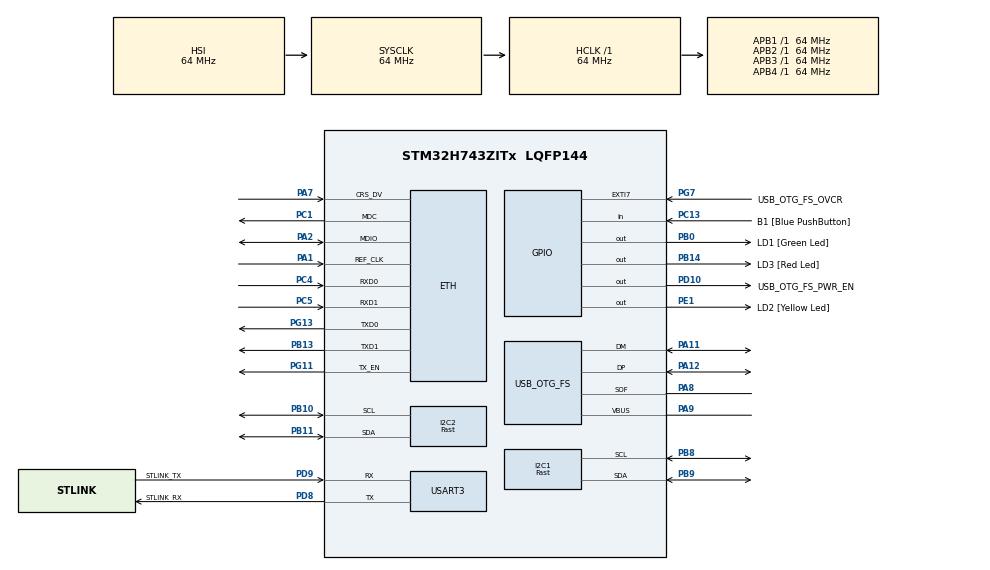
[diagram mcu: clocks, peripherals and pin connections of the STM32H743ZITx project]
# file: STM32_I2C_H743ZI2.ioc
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CORTEX_M7.AccessPermission-Cortex_Memory_Protection_Unit_Region0_Settings=MPU_REGION_FULL_ACCESS
CORTEX_M7.BaseAddress-Cortex_Memory_Protection_Unit_Region0_Settings=0x30000000
CORTEX_M7.CPU_DCache=Enabled
CORTEX_M7.CPU_ICache=Enabled
CORTEX_M7.DisableExec-Cortex_Memory_Protection_Unit_Region0_Settings=MPU_INSTRUCTION_ACCESS_DISABLE
CORTEX_M7.Enable-Cortex_Memory_Protection_Unit_Region0_Settings=MPU_REGION_ENABLE
CORTEX_M7.IsShareable-Cortex_Memory_Protection_Unit_Region0_Settings=MPU_ACCESS_NOT_SHAREABLE
CORTEX_M7.MPU_Control=MPU_PRIVILEGED_DEFAULT
CORTEX_M7.Size-Cortex_Memory_Protection_Unit_Region0_Settings=MPU_REGION_SIZE_32KB
CORTEX_M7.TypeExtField-Cortex_Memory_Protection_Unit_Region0_Settings=MPU_TEX_LEVEL1
Dma.I2C1_TX.1.Direction=DMA_MEMORY_TO_PERIPH
Dma.I2C1_TX.1.EventEnable=DISABLE
Dma.I2C1_TX.1.FIFOMode=DMA_FIFOMODE_DISABLE
Dma.I2C1_TX.1.Instance=DMA1_Stream1
Dma.I2C1_TX.1.MemDataAlignment=DMA_MDATAALIGN_BYTE
Dma.I2C1_TX.1.MemInc=DMA_MINC_ENABLE
Dma.I2C1_TX.1.Mode=DMA_NORMAL
Dma.I2C1_TX.1.PeriphDataAlignment=DMA_PDATAALIGN_BYTE
Dma.I2C1_TX.1.PeriphInc=DMA_PINC_DISABLE
Dma.I2C1_TX.1.Polarity=HAL_DMAMUX_REQ_GEN_RISING
Dma.I2C1_TX.1.Priority=DMA_PRIORITY_LOW
Dma.I2C1_TX.1.RequestNumber=1
Dma.I2C1_TX.1.SignalID=NONE
Dma.I2C1_TX.1.SyncEnable=DISABLE
Dma.I2C1_TX.1.SyncPolarity=HAL_DMAMUX_SYNC_NO_EVENT
Dma.I2C1_TX.1.SyncRequestNumber=1
Dma.I2C1_TX.1.SyncSignalID=NONE
Dma.I2C2_RX.0.Direction=DMA_PERIPH_TO_MEMORY
Dma.I2C2_RX.0.EventEnable=DISABLE
Dma.I2C2_RX.0.FIFOMode=DMA_FIFOMODE_DISABLE
Dma.I2C2_RX.0.Instance=DMA1_Stream2
Dma.I2C2_RX.0.MemDataAlignment=DMA_MDATAALIGN_BYTE
Dma.I2C2_RX.0.MemInc=DMA_MINC_ENABLE
Dma.I2C2_RX.0.Mode=DMA_NORMAL
Dma.I2C2_RX.0.PeriphDataAlignment=DMA_PDATAALIGN_BYTE
Dma.I2C2_RX.0.PeriphInc=DMA_PINC_DISABLE
Dma.I2C2_RX.0.Polarity=HAL_DMAMUX_REQ_GEN_RISING
Dma.I2C2_RX.0.Priority=DMA_PRIORITY_LOW
Dma.I2C2_RX.0.RequestNumber=1
Dma.I2C2_RX.0.SignalID=NONE
Dma.I2C2_RX.0.SyncEnable=DISABLE
Dma.I2C2_RX.0.SyncPolarity=HAL_DMAMUX_SYNC_NO_EVENT
Dma.I2C2_RX.0.SyncRequestNumber=1
Dma.I2C2_RX.0.SyncSignalID=NONE
Dma.Request0=I2C2_RX
Dma.Request1=I2C1_TX
ETH.MediaInterface=HAL_ETH_RMII_MODE
I2C1.I2C_Speed_Mode=I2C_Fast
I2C1.Timing=0x00602173
I2C2.I2C_Speed_Mode=I2C_Fast
I2C2.OwnAddress=0x7f
I2C2.Timing=0x00602173
Mcu.Family=STM32H7
Mcu.Name=STM32H743ZITx
Mcu.Package=LQFP144
NVIC.DMA1_Stream1_IRQn=true\:0\:0\:false\:false\:true\:false\:true\:true
NVIC.DMA1_Stream2_IRQn=true\:0\:0\:false\:false\:true\:false\:true\:true
NVIC.I2C1_EV_IRQn=true\:0\:0\:false\:false\:true\:true\:true\:true
NVIC.I2C2_EV_IRQn=true\:0\:0\:false\:false\:true\:true\:true\:true
NVIC.PriorityGroup=NVIC_PRIORITYGROUP_4
NVIC.TIM1_UP_IRQn=true\:0\:0\:false\:false\:true\:true\:true\:true
NVIC.TIM2_IRQn=true\:0\:0\:false\:false\:true\:true\:true\:true
PA1.Mode=RMII
PA1.Signal=ETH_REF_CLK
PA11.Mode=Device_Only
PA11.Signal=USB_OTG_FS_DM
PA12.Mode=Device_Only
PA12.Signal=USB_OTG_FS_DP
PA2.Mode=RMII
PA2.Signal=ETH_MDIO
PA7.Mode=RMII
PA7.Signal=ETH_CRS_DV
PA8.Mode=Activate_SOF_FS
PA8.Signal=USB_OTG_FS_SOF
PA9.Mode=Activate_VBUS
PA9.Signal=USB_OTG_FS_VBUS
PB0.GPIO_Label=LD1 [Green Led]
PB0.Signal=GPIO_Output
PB10.Mode=I2C
PB10.Signal=I2C2_SCL
PB11.Mode=I2C
PB11.Signal=I2C2_SDA
PB13.Mode=RMII
PB13.Signal=ETH_TXD1
PB14.GPIO_Label=LD3 [Red Led]
PB14.Signal=GPIO_Output
PB8.GPIO_Pu=GPIO_PULLUP
PB8.Mode=I2C
PB8.Signal=I2C1_SCL
PB9.GPIO_Pu=GPIO_PULLUP
PB9.Mode=I2C
PB9.Signal=I2C1_SDA
PC1.Mode=RMII
PC1.Signal=ETH_MDC
PC13.GPIO_Label=B1 [Blue PushButton]
PC13.Signal=GPIO_Input
PC14-OSC32_IN\ (OSC32_IN).Mode=LSE-External-Oscillator
PC14-OSC32_IN\ (OSC32_IN).Signal=RCC_OSC32_IN
PC15-OSC32_OUT\ (OSC32_OUT).Mode=LSE-External-Oscillator
PC15-OSC32_OUT\ (OSC32_OUT).Signal=RCC_OSC32_OUT
PC4.Mode=RMII
PC4.Signal=ETH_RXD0
PC5.Mode=RMII
PC5.Signal=ETH_RXD1
PD10.GPIO_Label=USB_OTG_FS_PWR_EN
PD10.Signal=GPIO_Output
PD8.GPIO_Label=STLINK_RX
PD8.Mode=Asynchronous
PD8.Signal=USART3_TX
PD9.GPIO_Label=STLINK_TX
PD9.Mode=Asynchronous
PD9.Signal=USART3_RX
PE1.GPIO_Label=LD2 [Yellow Led]
PE1.Signal=GPIO_Output
PG11.Mode=RMII
PG11.Signal=ETH_TX_EN
PG13.Mode=RMII
PG13.Signal=ETH_TXD0
PG7.GPIO_Label=USB_OTG_FS_OVCR
PG7.Signal=GPXTI7
PH0-OSC_IN\ (PH0).Mode=HSE-External-Clock-Source
PH0-OSC_IN\ (PH0).Signal=RCC_OSC_IN
PH1-OSC_OUT\ (PH1).Signal=RCC_OSC_OUT
ProjectManager.HeapSize=0x200
ProjectManager.StackSize=0x400
ProjectManager.TargetToolchain=STM32CubeIDE
RCC.ADCFreq_Value=16125000
RCC.APB1Freq_Value=64000000
RCC.APB2Freq_Value=64000000
RCC.APB3Freq_Value=64000000
RCC.APB4Freq_Value=64000000
RCC.CortexFreq_Value=64000000
RCC.DIVM1=1
RCC.DIVN1=24
RCC.DIVQ1=4
RCC.HCLKFreq_Value=64000000
RCC.HSE_VALUE=8000000
RCC.PLLFRACN=0
RCC.PWR_Regulator_Voltage_Scale=PWR_REGULATOR_VOLTAGE_SCALE2
RCC.SYSCLKFreq_VALUE=64000000
RCC.USBFreq_Value=48000000
TIM1.Period=1000-1
TIM1.Prescaler=64-1
TIM2.Period=1000-1
TIM2.Prescaler=64-1
USART3.VirtualMode-Asynchronous=VM_ASYNC
USB_OTG_FS.VirtualMode=Device_Only
VP_TIM1_VS_ClockSourceINT.Mode=Internal
VP_TIM2_VS_ClockSourceINT.Mode=Internal
board=NUCLEO-H743ZI2

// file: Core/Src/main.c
/* USER CODE BEGIN Header */
/**
  ******************************************************************************
  * @file           : main.c
  * @brief          : Main program body
  ******************************************************************************
  * @attention
  *
  * Copyright (c) 2024 STMicroelectronics.
  * All rights reserved.
  *
  * This software is licensed under terms that can be found in the LICENSE file
  * in the root directory of this software component.
  * If no LICENSE file comes with this software, it is provided AS-IS.
  *
  ******************************************************************************
  */
/* USER CODE END Header */
#include "main.h"
#include "dma.h"
#include "eth.h"
#include "i2c.h"
#include "tim.h"
#include "usart.h"
#include "usb_otg.h"
#include "gpio.h"

/* USER CODE BEGIN Includes */
#include "string.h"
/* USER CODE END Includes */

/* USER CODE BEGIN PD */
#define I2C_DOUBLE_DATA_NUM 		10
#define I2C_FLOAT_DATA_NUM 			20
#define I2C_INT32_DATA_NUM 			10
#define I2C_UINT32_DATA_NUM 		10
#define I2C_INT16_DATA_NUM 			10
#define I2C_UINT16_DATA_NUM 		10
#define I2C_INT8_DATA_NUM 			10
#define I2C_UINT8_DATA_NUM 			10

#define DATA_TOTAL_BYTE 			100		// Should be Larger than NEEDED
#define I2C_TOTAL_DATA_NUM			(I2C_DOUBLE_DATA_NUM + I2C_FLOAT_DATA_NUM + I2C_INT32_DATA_NUM + I2C_UINT32_DATA_NUM + I2C_INT16_DATA_NUM + I2C_UINT16_DATA_NUM + I2C_INT8_DATA_NUM + I2C_UINT8_DATA_NUM)

#define SLAVE_ADDR					(0x7f << 1)

typedef enum _IOIF_I2CDatatType_t {
	I2C_DOUBLE = 1,
	I2C_FLOAT,
	I2C_INT32,
	I2C_UINT32,
	I2C_INT16,
	I2C_UINT16,
	I2C_INT8,
	I2C_UINT8
} IOIF_I2CDataType_t;

typedef struct _IOIF_I2CObj_t {
	double doubleI2CData[I2C_DOUBLE_DATA_NUM];
	float floatI2CData[I2C_FLOAT_DATA_NUM];
	int32_t int32I2CData[I2C_INT32_DATA_NUM];
	uint32_t uint32I2CData[I2C_UINT32_DATA_NUM];
	int16_t int16I2CData[I2C_INT16_DATA_NUM];
	uint16_t uint16I2CData[I2C_UINT16_DATA_NUM];
	int8_t int8I2CData[I2C_INT8_DATA_NUM];
	uint8_t uint8I2CData[I2C_UINT8_DATA_NUM];

	uint8_t doubleIndex;
	uint8_t floatIndex;
	uint8_t int32Index;
	uint8_t uint32Index;
	uint8_t int16Index;
	uint8_t uint16Index;
	uint8_t int8Index;
	uint8_t uint8Index;

	uint8_t totalDataNum;
	uint16_t totalDataByte;

	uint8_t dataTypeArray[I2C_TOTAL_DATA_NUM];

	uint8_t ParsedI2CByteData[DATA_TOTAL_BYTE];
} IOIF_I2CObj_t;

/* USER CODE END PD */

/* USER CODE BEGIN PV */
/* For DMA I2C Communication (with DMA) */
static uint8_t i2c1CommDmaTxBuff[DATA_TOTAL_BYTE] __attribute__((section(".i2c1TxBuff"))) = {0};
static uint8_t i2c2CommDmaRxBuff[DATA_TOTAL_BYTE] __attribute__((section(".i2c2RxBuff"))) = {0};

uint8_t rxByteDataArray[DATA_TOTAL_BYTE] = {0};

IOIF_I2CObj_t* i2cPtr = NULL;
IOIF_I2CObj_t i2cTxObj = {0};

/* Transmission */
uint8_t AppendI2CData(IOIF_I2CDataType_t dataType, void* dataAddr)
{
	i2cPtr = &i2cTxObj;

	if (dataType == I2C_DOUBLE){
		i2cPtr->doubleI2CData[i2cPtr->doubleIndex] = *((double*)dataAddr);
		i2cPtr->dataTypeArray[i2cPtr->totalDataNum] = I2C_DOUBLE;

		i2cPtr->doubleIndex++;
		i2cPtr->totalDataNum++;
		i2cPtr->totalDataByte += sizeof(double);
	}
	else if (dataType == I2C_FLOAT){
		i2cPtr->floatI2CData[i2cPtr->floatIndex] = *((float*)dataAddr);
		i2cPtr->dataTypeArray[i2cPtr->totalDataNum] = I2C_FLOAT;

		i2cPtr->floatIndex++;
		i2cPtr->totalDataNum++;
		i2cPtr->totalDataByte += sizeof(float);
	}
	else if (dataType == I2C_INT32){
		i2cPtr->int32I2CData[i2cPtr->int32Index] = *((int32_t*)dataAddr);
		i2cPtr->dataTypeArray[i2cPtr->totalDataNum] = I2C_INT32;

		i2cPtr->int32Index++;
		i2cPtr->totalDataNum++;
		i2cPtr->totalDataByte += sizeof(int32_t);
	}
	else if (dataType == I2C_UINT32){
		i2cPtr->uint32I2CData[i2cPtr->uint32Index] = *((uint32_t*)dataAddr);
		i2cPtr->dataTypeArray[i2cPtr->totalDataNum] = I2C_UINT32;

		i2cPtr->uint32Index++;
		i2cPtr->totalDataNum++;
		i2cPtr->totalDataByte += sizeof(uint32_t);
	}
	else if (dataType == I2C_INT16){
		i2cPtr->int16I2CData[i2cPtr->int16Index] = *((int16_t*)dataAddr);
		i2cPtr->dataTypeArray[i2cPtr->totalDataNum] = I2C_INT16;

		i2cPtr->int16Index++;
		i2cPtr->totalDataNum++;
		i2cPtr->totalDataByte += sizeof(int16_t);
	}
	else if (dataType == I2C_UINT16){
		i2cPtr->uint16I2CData[i2cPtr->uint16Index] = *((uint16_t*)dataAddr);
		i2cPtr->dataTypeArray[i2cPtr->totalDataNum] = I2C_UINT16;

		i2cPtr->uint16Index++;
		i2cPtr->totalDataNum++;
		i2cPtr->totalDataByte += sizeof(uint16_t);
	}
	else if (dataType == I2C_INT8){
		i2cPtr->int8I2CData[i2cPtr->int8Index] = *((int8_t*)dataAddr);
		i2cPtr->dataTypeArray[i2cPtr->totalDataNum] = I2C_INT8;

		i2cPtr->int8Index++;
		i2cPtr->totalDataNum++;
		i2cPtr->totalDataByte += sizeof(int8_t);
	}
	else if (dataType == I2C_UINT8){
		i2cPtr->uint8I2CData[i2cPtr->uint8Index] = *((uint8_t*)dataAddr);
		i2cPtr->dataTypeArray[i2cPtr->totalDataNum] = I2C_UINT8;

		i2cPtr->uint8Index++;
		i2cPtr->totalDataNum++;
		i2cPtr->totalDataByte += sizeof(uint8_t);
	}
	else {
		return 1;
		// Error Check
	}

	return 0;
}

uint8_t ParseI2CData(void)
{
	i2cPtr = &i2cTxObj;

	static uint8_t doubleInd = 0;
	static uint8_t floatInd = 0;
	static uint8_t int32Ind = 0;
	static uint8_t uint32Ind = 0;
	static uint8_t int16Ind = 0;
	static uint8_t uint16Ind = 0;
	static uint8_t int8Ind = 0;
	static uint8_t uint8Ind = 0;

	static uint16_t ind = 0;

	/* 1st data is "totalDataNum" */
	memcpy(&i2cPtr->ParsedI2CByteData[ind], &i2cPtr->totalDataNum, 1);
	ind++;

	/* Remained data has the form of "dataType, parsedData" */
	for (uint8_t i = 0; i < i2cPtr->totalDataNum; i++){
		if (i2cPtr->dataTypeArray[i] == I2C_DOUBLE){
			memcpy(&i2cPtr->ParsedI2CByteData[ind], &i2cPtr->dataTypeArray[i], 1);
			memcpy(&i2cPtr->ParsedI2CByteData[ind + 1], &i2cPtr->doubleI2CData[doubleInd], sizeof(double));
			doubleInd++;
			ind = ind + sizeof(double) + 1;
		}
		else if (i2cPtr->dataTypeArray[i] == I2C_FLOAT){
			memcpy(&i2cPtr->ParsedI2CByteData[ind], &i2cPtr->dataTypeArray[i], 1);
			memcpy(&i2cPtr->ParsedI2CByteData[ind + 1], &i2cPtr->floatI2CData[floatInd], sizeof(float));
			floatInd++;
			ind = ind + sizeof(float) + 1;
		}
		else if (i2cPtr->dataTypeArray[i] == I2C_INT32){
			memcpy(&i2cPtr->ParsedI2CByteData[ind], &i2cPtr->dataTypeArray[i], 1);
			memcpy(&i2cPtr->ParsedI2CByteData[ind + 1], &i2cPtr->floatI2CData[int32Ind], sizeof(int32_t));
			int32Ind++;
			ind = ind + sizeof(int32_t) + 1;
		}
		else if (i2cPtr->dataTypeArray[i] == I2C_UINT32){
			memcpy(&i2cPtr->ParsedI2CByteData[ind], &i2cPtr->dataTypeArray[i], 1);
			memcpy(&i2cPtr->ParsedI2CByteData[ind + 1], &i2cPtr->uint32I2CData[uint32Ind], sizeof(uint32_t));
			uint32Ind++;
			ind = ind + sizeof(uint32_t) + 1;
		}
		else if (i2cPtr->dataTypeArray[i] == I2C_INT16){
			memcpy(&i2cPtr->ParsedI2CByteData[ind], &i2cPtr->dataTypeArray[i], 1);
			memcpy(&i2cPtr->ParsedI2CByteData[ind + 1], &i2cPtr->int16I2CData[int16Ind], sizeof(int16_t));
			int16Ind++;
			ind = ind + sizeof(int16_t) + 1;
		}
		else if (i2cPtr->dataTypeArray[i] == I2C_UINT16){
			memcpy(&i2cPtr->ParsedI2CByteData[ind], &i2cPtr->dataTypeArray[i], 1);
			memcpy(&i2cPtr->ParsedI2CByteData[ind + 1], &i2cPtr->uint16I2CData[uint16Ind], sizeof(uint16_t));
			uint16Ind++;
			ind = ind + sizeof(uint16_t) + 1;
		}
		else if (i2cPtr->dataTypeArray[i] == I2C_INT8){
			memcpy(&i2cPtr->ParsedI2CByteData[ind], &i2cPtr->dataTypeArray[i], 1);
			memcpy(&i2cPtr->ParsedI2CByteData[ind + 1], &i2cPtr->int8I2CData[int8Ind], sizeof(int8_t));
			int8Ind++;
			ind = ind + sizeof(int8_t) + 1;
		}
		else if (i2cPtr->dataTypeArray[i] == I2C_UINT8){
			memcpy(&i2cPtr->ParsedI2CByteData[ind], &i2cPtr->dataTypeArray[i], 1);
			memcpy(&i2cPtr->ParsedI2CByteData[ind + 1], &i2cPtr->uint8I2CData[uint8Ind], sizeof(uint8_t));
			uint8Ind++;
			ind = ind + sizeof(uint8_t) + 1;
		}
	}

	doubleInd = 0;
	floatInd = 0;
	int32Ind = 0;
	uint32Ind = 0;
	int16Ind = 0;
	uint16Ind = 0;
	int8Ind = 0;
	uint8Ind = 0;

	ind = 0;

	return 0;
}

/* Receive */
void byteValueToRealValue(void* realData, uint8_t* byteData)
{
	static uint16_t rxDataIndex = 0;
	static uint8_t rxDataNum = 0;
	static uint8_t firstRead = 0;
	static uint8_t totalDataNum = 0;

	/* Check Total Data Number */
	if (firstRead == 0){
		totalDataNum = byteData[rxDataIndex];
		rxDataIndex++;
		firstRead = 1;
	}

	/* Parsing */
	if (byteData[rxDataIndex] == I2C_DOUBLE){
		memcpy((double*)realData, &byteData[rxDataIndex+1], sizeof(double));
		rxDataIndex += 9;
		rxDataNum++;
	}
	else if (byteData[rxDataIndex] == I2C_FLOAT){
		memcpy((float*)realData, &byteData[rxDataIndex+1], sizeof(float));
		rxDataIndex += 5;
		rxDataNum++;
	}
	else if (byteData[rxDataIndex] == I2C_INT32){
		memcpy((int32_t*)realData, &byteData[rxDataIndex+1], sizeof(int32_t));
		rxDataIndex += 5;
		rxDataNum++;
	}
	else if (byteData[rxDataIndex] == I2C_UINT32){
		memcpy((uint32_t*)realData, &byteData[rxDataIndex+1], sizeof(uint32_t));
		rxDataIndex += 5;
		rxDataNum++;
	}
	else if (byteData[rxDataIndex] == I2C_INT16){
		memcpy((int16_t*)realData, &byteData[rxDataIndex+1], sizeof(int16_t));
		rxDataIndex += 3;
		rxDataNum++;
	}
	else if (byteData[rxDataIndex] == I2C_UINT16){
		memcpy((uint16_t*)realData, &byteData[rxDataIndex+1], sizeof(uint16_t));
		rxDataIndex += 3;
		rxDataNum++;
	}
	else if (byteData[rxDataIndex] == I2C_INT8){
		memcpy((int8_t*)realData, &byteData[rxDataIndex+1], sizeof(int8_t));
		rxDataIndex += 2;
		rxDataNum++;
	}
	else if (byteData[rxDataIndex] == I2C_UINT8){
		memcpy((uint8_t*)realData, &byteData[rxDataIndex+1], sizeof(uint8_t));
		rxDataIndex += 2;
		rxDataNum++;
	}
	else {
		rxDataIndex = 0;
		rxDataNum = 0;
		firstRead = 0;
		return;
	}

	/* Optimization case */
	if (rxDataIndex == DATA_TOTAL_BYTE){
		rxDataIndex = 0;
		rxDataNum = 0;
		firstRead = 0;
		return;
	}

	if (rxDataNum == totalDataNum){
		rxDataIndex = 0;
		rxDataNum = 0;
		firstRead = 0;
		return;
	}
}

/* For Transmitted Values */
float txData1 = 3.14;
float txData2 = 4.14;
float txData3 = 5.14;
float txData4 = 6.14;
float txData5 = 7.14;
float txData6 = 8.14;

/* For Received Values */
float data1;
float data2;
float data3;
float data4;
float data5;
float data6;
float data7;
float data8;
float data9;
float data10;
float data11;
float data12;
float data13;

void settingI2CReceivedData(uint8_t* byteData)
{
	byteValueToRealValue(&data1, byteData);
	byteValueToRealValue(&data2, byteData);
	byteValueToRealValue(&data3, byteData);
	byteValueToRealValue(&data4, byteData);
	byteValueToRealValue(&data5, byteData);
	byteValueToRealValue(&data6, byteData);
//	byteValueToRealValue(&data7, byteData);
//	byteValueToRealValue(&data8, byteData);
//	byteValueToRealValue(&data9, byteData);
//	byteValueToRealValue(&data10, byteData);
//	byteValueToRealValue(&data11, byteData);
//	byteValueToRealValue(&data12, byteData);
//	byteValueToRealValue(&data13, byteData);
}

/* Transmit */
uint8_t IOIF_TransmitI2CData(void)
{
	i2cPtr = &i2cTxObj;

	memset(i2c1CommDmaTxBuff, 0, DATA_TOTAL_BYTE);
	memcpy(i2c1CommDmaTxBuff, i2cPtr->ParsedI2CByteData, DATA_TOTAL_BYTE);
	uint8_t txDebug = HAL_I2C_Master_Transmit_DMA(&hi2c1, (uint16_t)SLAVE_ADDR, i2c1CommDmaTxBuff, DATA_TOTAL_BYTE);

	i2cTxObj = (IOIF_I2CObj_t){0};

	return txDebug;
}

/* Receive */
uint8_t IOIF_ReceiveI2CData(void)
{
	memset(rxByteDataArray, 0, DATA_TOTAL_BYTE);
	uint8_t rxDebug = HAL_I2C_Slave_Receive_DMA(&hi2c2, i2c2CommDmaRxBuff, DATA_TOTAL_BYTE);
	memcpy(rxByteDataArray, i2c2CommDmaRxBuff, DATA_TOTAL_BYTE);
	settingI2CReceivedData(rxByteDataArray);

	return rxDebug;
}

uint32_t cnt = 0;

/* USER CODE END PV */

void SystemClock_Config(void);
static void MPU_Config(void);

int main(void)
{

  /* MPU Configuration--------------------------------------------------------*/
  MPU_Config();
/* Enable the CPU Cache */

  /* Enable I-Cache---------------------------------------------------------*/
  SCB_EnableICache();

  /* Enable D-Cache---------------------------------------------------------*/
  SCB_EnableDCache();

  /* MCU Configuration--------------------------------------------------------*/

  /* Reset of all peripherals, Initializes the Flash interface and the Systick. */
  HAL_Init();

  /* Configure the system clock */
  SystemClock_Config();

  /* Initialize all configured peripherals */
  MX_GPIO_Init();
  MX_DMA_Init();
  MX_USART3_UART_Init();
  MX_USB_OTG_FS_PCD_Init();
  MX_I2C1_Init();
  MX_I2C2_Init();
  MX_TIM1_Init();
  MX_ETH_Init();
  MX_TIM2_Init();
  /* USER CODE BEGIN 2 */

  HAL_TIM_Base_Start_IT(&htim1);
  HAL_TIM_Base_Start_IT(&htim2);

  /* USER CODE END 2 */

  /* Infinite loop */
  while (1)
  {

  }
}

void SystemClock_Config(void)
{
  RCC_OscInitTypeDef RCC_OscInitStruct = {0};
  RCC_ClkInitTypeDef RCC_ClkInitStruct = {0};

  /** Supply configuration update enable
  */
  HAL_PWREx_ConfigSupply(PWR_LDO_SUPPLY);

  /** Configure the main internal regulator output voltage
  */
  __HAL_PWR_VOLTAGESCALING_CONFIG(PWR_REGULATOR_VOLTAGE_SCALE2);

  while(!__HAL_PWR_GET_FLAG(PWR_FLAG_VOSRDY)) {}

  /** Initializes the RCC Oscillators according to the specified parameters
  * in the RCC_OscInitTypeDef structure.
  */
  RCC_OscInitStruct.OscillatorType = RCC_OSCILLATORTYPE_HSI|RCC_OSCILLATORTYPE_HSE;
  RCC_OscInitStruct.HSEState = RCC_HSE_BYPASS;
  RCC_OscInitStruct.HSIState = RCC_HSI_DIV1;
  RCC_OscInitStruct.HSICalibrationValue = RCC_HSICALIBRATION_DEFAULT;
  RCC_OscInitStruct.PLL.PLLState = RCC_PLL_ON;
  RCC_OscInitStruct.PLL.PLLSource = RCC_PLLSOURCE_HSE;
  RCC_OscInitStruct.PLL.PLLM = 1;
  RCC_OscInitStruct.PLL.PLLN = 24;
  RCC_OscInitStruct.PLL.PLLP = 2;
  RCC_OscInitStruct.PLL.PLLQ = 4;
  RCC_OscInitStruct.PLL.PLLR = 2;
  RCC_OscInitStruct.PLL.PLLRGE = RCC_PLL1VCIRANGE_3;
  RCC_OscInitStruct.PLL.PLLVCOSEL = RCC_PLL1VCOWIDE;
  RCC_OscInitStruct.PLL.PLLFRACN = 0;
  if (HAL_RCC_OscConfig(&RCC_OscInitStruct) != HAL_OK)
  {
    Error_Handler();
  }

  /** Initializes the CPU, AHB and APB buses clocks
  */
  RCC_ClkInitStruct.ClockType = RCC_CLOCKTYPE_HCLK|RCC_CLOCKTYPE_SYSCLK
                              |RCC_CLOCKTYPE_PCLK1|RCC_CLOCKTYPE_PCLK2
                              |RCC_CLOCKTYPE_D3PCLK1|RCC_CLOCKTYPE_D1PCLK1;
  RCC_ClkInitStruct.SYSCLKSource = RCC_SYSCLKSOURCE_HSI;
  RCC_ClkInitStruct.SYSCLKDivider = RCC_SYSCLK_DIV1;
  RCC_ClkInitStruct.AHBCLKDivider = RCC_HCLK_DIV1;
  RCC_ClkInitStruct.APB3CLKDivider = RCC_APB3_DIV1;
  RCC_ClkInitStruct.APB1CLKDivider = RCC_APB1_DIV1;
  RCC_ClkInitStruct.APB2CLKDivider = RCC_APB2_DIV1;
  RCC_ClkInitStruct.APB4CLKDivider = RCC_APB4_DIV1;

  if (HAL_RCC_ClockConfig(&RCC_ClkInitStruct, FLASH_LATENCY_1) != HAL_OK)
  {
    Error_Handler();
  }
}

/* USER CODE BEGIN 4 */
void HAL_TIM_PeriodElapsedCallback(TIM_HandleTypeDef *htim)
{
	/* TIM1 : I2C2(Slave) - Receive */
	if (htim == &htim1){
		IOIF_ReceiveI2CData();
	}

	/* TIM2 : I2C1(Master) - Transmit */
	if (htim == &htim2){
		/* Append data to transmit */
		AppendI2CData(I2C_FLOAT, &txData1);
		AppendI2CData(I2C_FLOAT, &txData2);
		AppendI2CData(I2C_FLOAT, &txData3);
		AppendI2CData(I2C_FLOAT, &txData4);
		AppendI2CData(I2C_FLOAT, &txData5);
		AppendI2CData(I2C_FLOAT, &txData6);

		/* Parse data to byte */
		ParseI2CData();

		/* Transmit with I2C */
		IOIF_TransmitI2CData();

		/* Test Data Update */
		cnt++;
		if (cnt == 1000){
			cnt = 0;
			txData1++;
			txData2++;
			txData3++;
			txData4++;
			txData5++;
			txData6++;
		}
	}
}
/* USER CODE END 4 */

/* MPU Configuration */

void MPU_Config(void)
{
  MPU_Region_InitTypeDef MPU_InitStruct = {0};

  /* Disables the MPU */
  HAL_MPU_Disable();

  /** Initializes and configures the Region and the memory to be protected
  */
  MPU_InitStruct.Enable = MPU_REGION_ENABLE;
  MPU_InitStruct.Number = MPU_REGION_NUMBER0;
  MPU_InitStruct.BaseAddress = 0x30000000;
  MPU_InitStruct.Size = MPU_REGION_SIZE_32KB;
  MPU_InitStruct.SubRegionDisable = 0x0;
  MPU_InitStruct.TypeExtField = MPU_TEX_LEVEL1;
  MPU_InitStruct.AccessPermission = MPU_REGION_FULL_ACCESS;
  MPU_InitStruct.DisableExec = MPU_INSTRUCTION_ACCESS_DISABLE;
  MPU_InitStruct.IsShareable = MPU_ACCESS_NOT_SHAREABLE;
  MPU_InitStruct.IsCacheable = MPU_ACCESS_NOT_CACHEABLE;
  MPU_InitStruct.IsBufferable = MPU_ACCESS_NOT_BUFFERABLE;

  HAL_MPU_ConfigRegion(&MPU_InitStruct);
  /* Enables the MPU */
  HAL_MPU_Enable(MPU_PRIVILEGED_DEFAULT);

}

void Error_Handler(void)
{
  __disable_irq();
  while (1)
  {
  }
}
